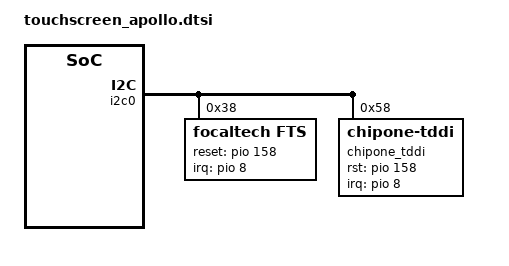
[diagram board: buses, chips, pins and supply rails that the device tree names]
&pio {
	tp_int_input: eint@0 {
		pins_cmd_dat {
			pins = <PINMUX_GPIO8__FUNC_GPIO8>;
			slew-rate = <0>;
			bias-disable;
		};
	};

	state_rst_output0: rstoutput0 {
		pins_cmd_dat {
			pins = <PINMUX_GPIO158__FUNC_GPIO158>;
			slew-rate = <1>;
			output-low;
		};
	};

	state_rst_output1: rstoutput1 {
		pins_cmd_dat {
			pins = <PINMUX_GPIO158__FUNC_GPIO158>;
			slew-rate = <1>;
			output-high;
		};
	};

};

&i2c0 {
	status = "okay";
	focaltech@38 {
		compatible = "focaltech,fts";
		reg = <0x38>;
		interrupt-parent = <&pio>;
		interrupts = <8 IRQ_TYPE_EDGE_FALLING 8 0>;
		focaltech,reset-gpio = <&pio 158 0x00>;
		focaltech,irq-gpio = <&pio 8 0x00>;
		focaltech,display-coords = <0 0 719 1559>;
		focaltech,max-touch-number = <10>;
	};

	chipone_tddi@58 {
		compatible = "chipone-tddi";
		reg = <0x58>;
		interrupt-parent = <&pio>;
		interrupts = <8 IRQ_TYPE_EDGE_FALLING 8 0>;
		chipone,rst-gpio = <&pio 158 0x00>;
		chipone,irq-gpio = <&pio 8 0x00>;
		chipone,x-res = <719>;
		chipone,y-res = <1559>;
	};
};

